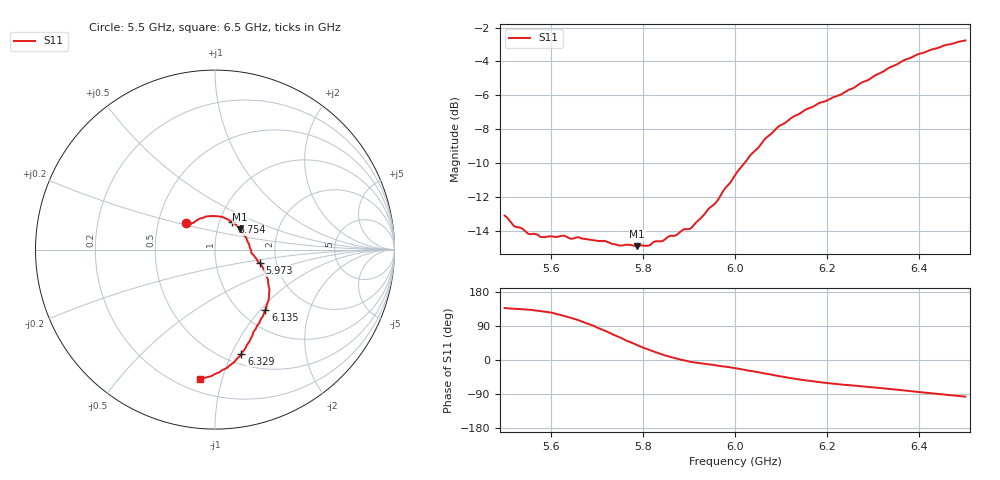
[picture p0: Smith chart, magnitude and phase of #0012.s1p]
#  HZ  S  DB  R  50.00
! Rohde & Schwarz ZVA24 4Ports - Version 3.60 - 1145.1110k28 SN: 101513
! Date: 2019-08-26 14:46:10
! Measurement: S33
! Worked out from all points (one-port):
!   801 points, 5.5 GHz to 6.5 GHz, reference 50 ohm
!   lowest |S11| = -14.9 dB at 5.787 GHz (marker M1), VSWR 1.44, Z = 64.2 + j15 ohm
!   |S11| at or under -10 dB: start of sweep to 6.021 GHz
!   S11 on the Smith chart (normalised r, x): 5.5 GHz: 0.69, +0.22; 5.754 GHz: 1.15, +0.36; 5.973 GHz: 1.63, -0.26; 6.135 GHz: 1.28, -1.07; 6.329 GHz: 0.60, -1.09; 6.5 GHz: 0.28, -0.85
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5.5e9  -13.11 137.3
5.52125e9  -13.73 135.3
5.5525e9  -14.19 132.7
5.58375e9  -14.38 128.1
5.625e9  -14.29 117.9
5.6575e9  -14.39 106.3
5.69375e9  -14.56 89.8
5.71875e9  -14.61 76.8
5.75e9  -14.87 60.0
5.75375e9  -14.87 57.6
5.7875e9  -14.91 39.0
5.81125e9  -14.88 28.0
5.82625e9  -14.63 21.3
5.875e9  -14.21 3.0
5.90625e9  -13.80 -5.4
5.95875e9  -12.33 -14.1
5.9725e9  -11.74 -16.6
6e9  -10.72 -21.6
6.03625e9  -9.45 -29.2
6.0675e9  -8.51 -36.1
6.125e9  -7.28 -48.5
6.135e9  -7.16 -50.2
6.18e9  -6.49 -58.2
6.25e9  -5.64 -66.6
6.32875e9  -4.47 -75.7
6.375e9  -3.85 -81.3
6.45375e9  -3.06 -91.4
6.5e9  -2.76 -96.6
